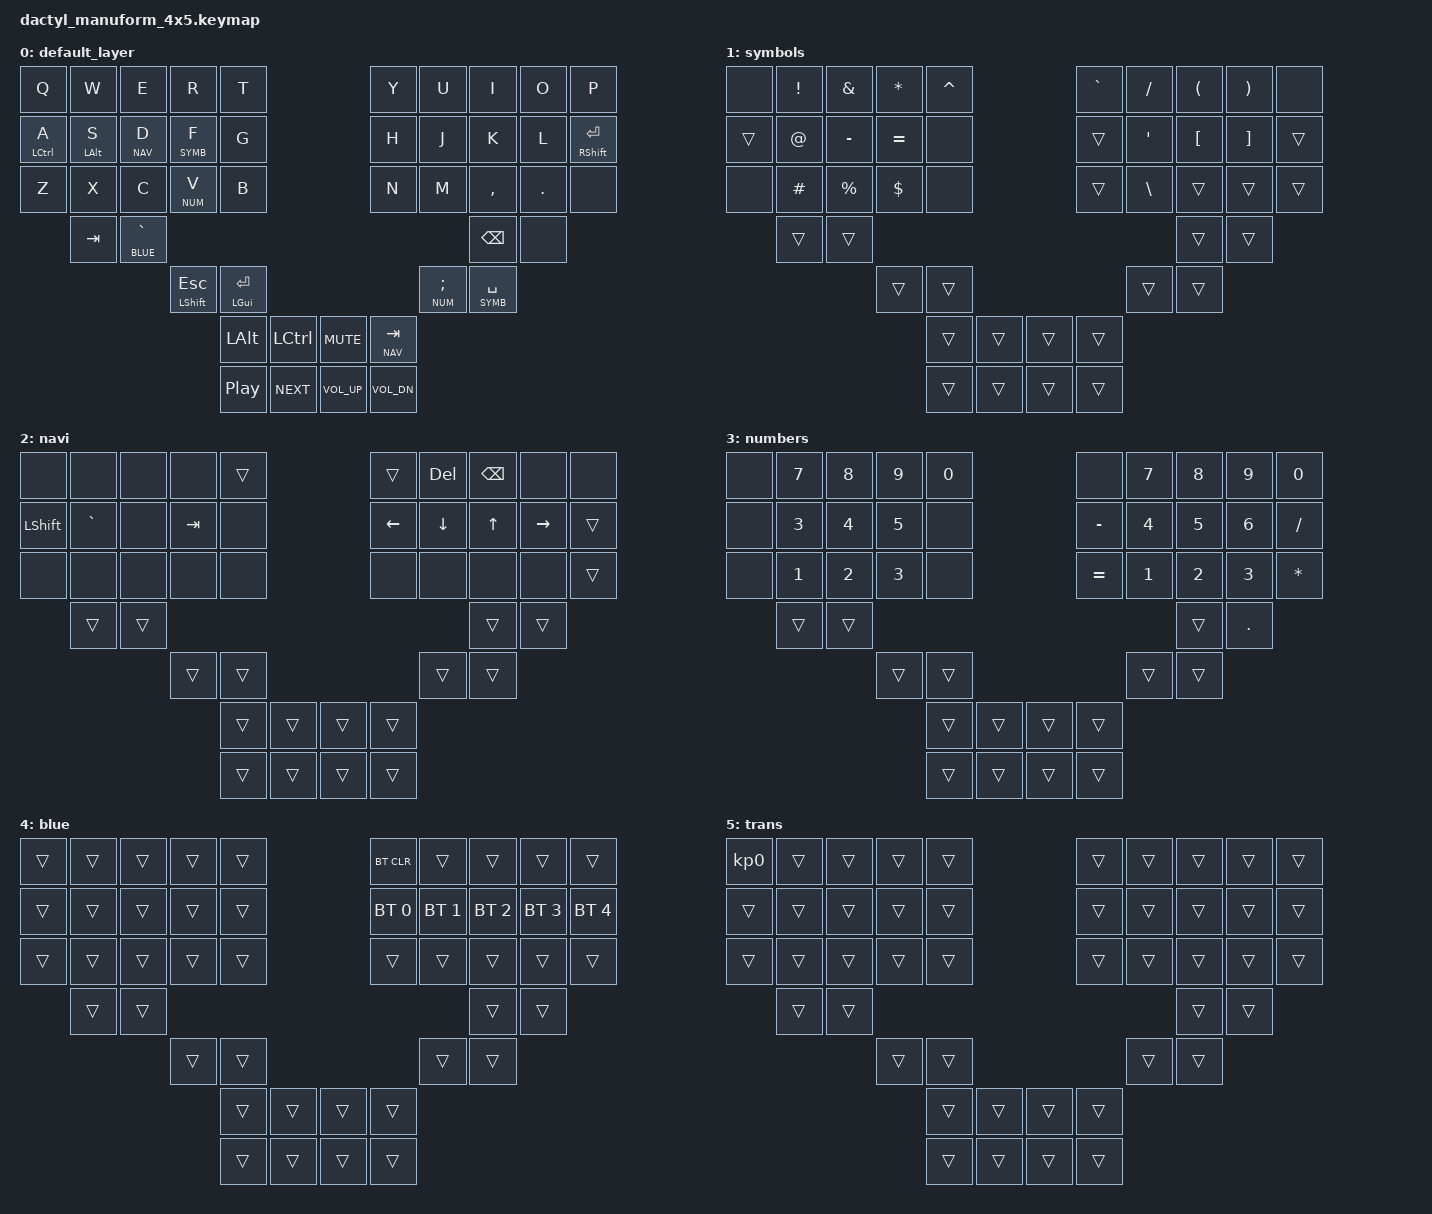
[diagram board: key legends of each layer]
#include <behaviors.dtsi>
#include <dt-bindings/zmk/keys.h>
#include <dt-bindings/zmk/bt.h>

#define DEFAULT 0
#define SYMB    1
#define NAV     2
#define NUM     3
#define BLUE    4

/ {

    behaviors {
        hm: homerow_mods {
            compatible = "zmk,behavior-hold-tap";
            label = "HOMEROW_MODS";
            #binding-cells = <2>;
            tapping-term-ms = <150>;
            quick_tap_ms = <0>;
            flavor = "tap-preferred";
            bindings = <&kp>, <&kp>;
        };
    };
    keymap {
        compatible = "zmk,keymap";

        default_layer {
            bindings = <
    &kp Q     &kp W    &kp E     &kp R     &kp T                          &kp Y     &kp U     &kp I     &kp O     &kp P
    &hm LCTRL A &hm LALT S &lt NAV D &lt SYMB F &kp G                     &kp H     &kp J     &kp K     &kp L     &hm RSHFT ENTER
    &kp Z     &kp X    &kp C     &lt NUM V     &kp B                      &kp N     &kp M     &kp COMMA &kp DOT   &none
              &kp TAB &lt BLUE GRAVE                                                          &kp BSPC  &none
                                 &hm LSHFT ESC &hm LGUI ENTER                      &lt NUM SEMI &lt SYMB SPC
                                            &kp LALT &kp LCTRL  &kp C_MUTE   &lt NAV TAB
                                            &kp C_PP &kp C_NEXT &kp C_VOL_UP &kp C_VOL_DN
            >;
        };

        symbols {
            bindings = <
    &none     &kp EXCL  &kp AMPS  &kp STAR  &kp CARET                     &kp GRAVE &kp FSLH  &kp LPAR  &kp RPAR  &none
    &trans    &kp AT    &kp MINUS &kp EQUAL &none                         &trans    &kp SQT   &kp LBKT  &kp RBKT  &trans
    &none     &kp HASH  &kp PRCNT &kp DLLR  &none                         &trans    &kp BSLH  &trans    &trans    &trans
              &trans    &trans                                                                &trans    &trans
                                  &trans    &trans                        &trans    &trans
                                            &trans    &trans    &trans    &trans
                                            &trans    &trans    &trans    &trans
            >;
        };

        navi {
            bindings = <
    &none     &none     &none     &none     &trans                        &trans    &kp DEL   &kp BSPC  &none     &none
    &kp LSHFT &kp GRAVE &none     &kp TAB   &none                         &kp LEFT  &kp DOWN  &kp UP    &kp RIGHT &trans
    &none     &none     &none     &none     &none                         &none     &none     &none     &none     &trans
              &trans    &trans                                                                &trans    &trans
                                  &trans    &trans                        &trans    &trans
                                            &trans    &trans    &trans    &trans
                                            &trans    &trans    &trans    &trans
            >;
        };

        numbers {
            bindings = <
    &none     &kp N7    &kp N8    &kp N9    &kp N0                        &none     &kp N7    &kp N8    &kp N9    &kp N0
    &none     &kp N3    &kp N4    &kp N5    &none                         &kp MINUS &kp N4    &kp N5    &kp N6    &kp FSLH
    &none     &kp N1    &kp N2    &kp N3    &none                         &kp EQUAL &kp N1    &kp N2    &kp N3    &kp STAR
              &trans    &trans                                                                &trans    &kp DOT
                                  &trans    &trans                        &trans    &trans
                                            &trans    &trans    &trans    &trans
                                            &trans    &trans    &trans    &trans
            >;
        };

        blue {
// -------------------------------------------------------------------------------------------------------------------------
// |         |         |         |         |         |                   |         |         |         |         |         |
// |         |         |         |         |         |                   |         |         |         |         |         |
// |         |         |         |         |         |                   |         |         |         |         |         |
//           |         |         |                                                           |         |         |
//                               |         |         |                   |         |         |
//                                         |         |         |         |         |
//                                         |         |         |         |         |
// I added a zero key because Zephyr won't compile with a only-transparent layer
            bindings = <
    &trans    &trans    &trans    &trans    &trans                        &bt BT_CLR    &trans    &trans    &trans    &trans
    &trans    &trans    &trans    &trans    &trans                        &bt BT_SEL 0 &bt BT_SEL 1 &bt BT_SEL 2 &bt BT_SEL 3 &bt BT_SEL 4
    &trans    &trans    &trans    &trans    &trans                        &trans    &trans    &trans    &trans    &trans
              &trans    &trans                                                                &trans    &trans
                                  &trans    &trans                        &trans    &trans
                                            &trans    &trans    &trans    &trans
                                            &trans    &trans    &trans    &trans
            >;
        };

        // This layer is for easier copy/paste when creating new keymaps, so you have transparent keys already added
        trans {
// -------------------------------------------------------------------------------------------------------------------------
// |         |         |         |         |         |                   |         |         |         |         |         |
// |         |         |         |         |         |                   |         |         |         |         |         |
// |         |         |         |         |         |                   |         |         |         |         |         |
//           |         |         |                                                           |         |         |
//                               |         |         |                   |         |         |
//                                         |         |         |         |         |
//                                         |         |         |         |         |
// I added a zero key because Zephyr won't compile with a only-transparent layer
            bindings = <
    &kp KP_N0 &trans    &trans    &trans    &trans                        &trans    &trans    &trans    &trans    &trans
    &trans    &trans    &trans    &trans    &trans                        &trans    &trans    &trans    &trans    &trans
    &trans    &trans    &trans    &trans    &trans                        &trans    &trans    &trans    &trans    &trans
              &trans    &trans                                                                &trans    &trans
                                  &trans    &trans                        &trans    &trans
                                            &trans    &trans    &trans    &trans
                                            &trans    &trans    &trans    &trans
            >;
        };
    };
};
